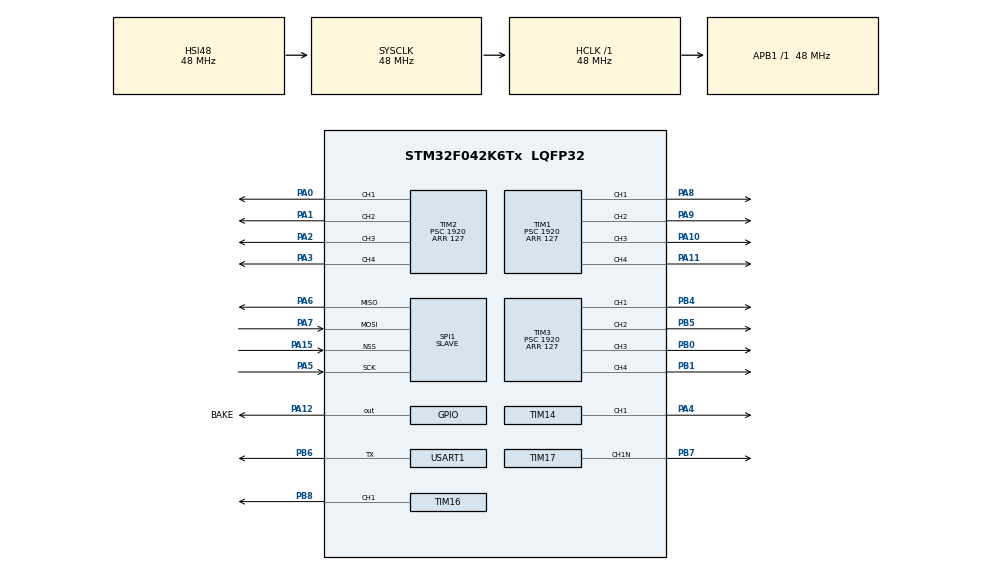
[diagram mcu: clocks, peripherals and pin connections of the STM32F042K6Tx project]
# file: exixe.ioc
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Dma.Request0=SPI1_RX
Dma.SPI1_RX.0.Direction=DMA_PERIPH_TO_MEMORY
Dma.SPI1_RX.0.Instance=DMA1_Channel2
Dma.SPI1_RX.0.MemDataAlignment=DMA_MDATAALIGN_BYTE
Dma.SPI1_RX.0.MemInc=DMA_MINC_ENABLE
Dma.SPI1_RX.0.Mode=DMA_NORMAL
Dma.SPI1_RX.0.PeriphDataAlignment=DMA_PDATAALIGN_BYTE
Dma.SPI1_RX.0.PeriphInc=DMA_PINC_DISABLE
Dma.SPI1_RX.0.Priority=DMA_PRIORITY_HIGH
IWDG.Prescaler=IWDG_PRESCALER_4
Mcu.Family=STM32F0
Mcu.Name=STM32F042K6Tx
Mcu.Package=LQFP32
NVIC.DMA1_Channel2_3_IRQn=true\:0\:0\:false\:false\:true\:true
PA0.Signal=S_TIM2_CH1_ETR
PA1.Signal=S_TIM2_CH2
PA10.Signal=S_TIM1_CH3
PA11.Signal=S_TIM1_CH4
PA12.GPIO_Label=BAKE
PA12.GPIO_PuPd=GPIO_NOPULL
PA12.Signal=GPIO_Output
PA13.Mode=Serial_Wire
PA13.Signal=SYS_SWDIO
PA14.Mode=Serial_Wire
PA14.Signal=SYS_SWCLK
PA15.Mode=NSS_Signal_Hard_Input
PA15.Signal=SPI1_NSS
PA2.Signal=S_TIM2_CH3
PA3.Signal=S_TIM2_CH4
PA4.Signal=S_TIM14_CH1
PA5.Mode=Full_Duplex_Slave
PA5.Signal=SPI1_SCK
PA6.Mode=Full_Duplex_Slave
PA6.Signal=SPI1_MISO
PA7.Mode=Full_Duplex_Slave
PA7.Signal=SPI1_MOSI
PA8.Signal=S_TIM1_CH1
PA9.Signal=S_TIM1_CH2
PB0.Signal=S_TIM3_CH3
PB1.Signal=S_TIM3_CH4
PB4.Signal=S_TIM3_CH1
PB5.Signal=S_TIM3_CH2
PB6.Mode=Half_duplex(single_wire_mode)
PB6.Signal=USART1_TX
PB7.Mode=PWM Generation1 CH1N
PB7.Signal=TIM17_CH1N
PB8.Signal=S_TIM16_CH1
ProjectManager.HeapSize=0x200
ProjectManager.StackSize=0x400
ProjectManager.TargetToolchain=MDK-ARM V5
RCC.AHBFreq_Value=48000000
RCC.APB1Freq_Value=48000000
RCC.APB1TimFreq_Value=48000000
RCC.HCLKFreq_Value=48000000
RCC.I2c1ClockSelection=RCC_I2C1CLKSOURCE_SYSCLK
RCC.SYSCLKFreq_VALUE=48000000
RCC.SYSCLKSource=RCC_SYSCLKSOURCE_HSI48
RCC.Usart1ClockSelection=RCC_USART1CLKSOURCE_SYSCLK
SH.S_TIM14_CH1.0=TIM14_CH1,PWM Generation1 CH1
SH.S_TIM16_CH1.0=TIM16_CH1,PWM Generation1 CH1
SH.S_TIM1_CH1.0=TIM1_CH1,PWM Generation1 CH1
SH.S_TIM1_CH2.0=TIM1_CH2,PWM Generation2 CH2
SH.S_TIM1_CH3.0=TIM1_CH3,PWM Generation3 CH3
SH.S_TIM1_CH4.0=TIM1_CH4,PWM Generation4 CH4
SH.S_TIM2_CH1_ETR.0=TIM2_CH1,PWM Generation1 CH1
SH.S_TIM2_CH2.0=TIM2_CH2,PWM Generation2 CH2
SH.S_TIM2_CH3.0=TIM2_CH3,PWM Generation3 CH3
SH.S_TIM2_CH4.0=TIM2_CH4,PWM Generation4 CH4
SH.S_TIM3_CH1.0=TIM3_CH1,PWM Generation1 CH1
SH.S_TIM3_CH2.0=TIM3_CH2,PWM Generation2 CH2
SH.S_TIM3_CH3.0=TIM3_CH3,PWM Generation3 CH3
SH.S_TIM3_CH4.0=TIM3_CH4,PWM Generation4 CH4
SPI1.DataSize=SPI_DATASIZE_8BIT
SPI1.Direction=SPI_DIRECTION_2LINES
SPI1.Mode=SPI_MODE_SLAVE
SPI1.VirtualNSS=VM_NSSHARD
SPI1.VirtualType=VM_SLAVE
TIM1.Channel-PWM\ Generation1\ CH1=TIM_CHANNEL_1
TIM1.Channel-PWM\ Generation2\ CH2=TIM_CHANNEL_2
TIM1.Channel-PWM\ Generation3\ CH3=TIM_CHANNEL_3
TIM1.Channel-PWM\ Generation4\ CH4=TIM_CHANNEL_4
TIM1.Period=127
TIM1.Prescaler=1920
TIM1.Pulse-PWM\ Generation1\ CH1=0
TIM1.Pulse-PWM\ Generation2\ CH2=0
TIM1.Pulse-PWM\ Generation3\ CH3=0
TIM1.Pulse-PWM\ Generation4\ CH4=0
TIM14.Channel=TIM_CHANNEL_1
TIM14.Period=127
TIM14.Prescaler=1920
TIM14.Pulse=0
TIM16.Channel=TIM_CHANNEL_1
TIM16.Period=127
TIM16.Prescaler=1920
TIM16.Pulse=0
TIM17.Channel=TIM_CHANNEL_1
TIM17.Period=127
TIM17.Prescaler=1920
TIM17.Pulse=0
TIM2.Channel-PWM\ Generation1\ CH1=TIM_CHANNEL_1
TIM2.Channel-PWM\ Generation2\ CH2=TIM_CHANNEL_2
TIM2.Channel-PWM\ Generation3\ CH3=TIM_CHANNEL_3
TIM2.Channel-PWM\ Generation4\ CH4=TIM_CHANNEL_4
TIM2.Period=127
TIM2.Prescaler=1920
TIM2.Pulse-PWM\ Generation1\ CH1=0
TIM2.Pulse-PWM\ Generation2\ CH2=0
TIM2.Pulse-PWM\ Generation3\ CH3=0
TIM2.Pulse-PWM\ Generation4\ CH4=0
TIM3.Channel-PWM\ Generation1\ CH1=TIM_CHANNEL_1
TIM3.Channel-PWM\ Generation2\ CH2=TIM_CHANNEL_2
TIM3.Channel-PWM\ Generation3\ CH3=TIM_CHANNEL_3
TIM3.Channel-PWM\ Generation4\ CH4=TIM_CHANNEL_4
TIM3.Period=127
TIM3.Prescaler=1920
TIM3.Pulse-PWM\ Generation1\ CH1=0
TIM3.Pulse-PWM\ Generation2\ CH2=0
TIM3.Pulse-PWM\ Generation3\ CH3=0
TIM3.Pulse-PWM\ Generation4\ CH4=0
USART1.BaudRate=115200
USART1.Mode=MODE_TX
USART1.VirtualMode-Half_duplex(single_wire_mode)=VM_ASYNC
USART1.WordLength=WORDLENGTH_8B
VP_IWDG_VS_IWDG.Mode=IWDG_Activate
VP_TIM14_VS_ClockSourceINT.Mode=Enable_Timer
VP_TIM16_VS_ClockSourceINT.Mode=Enable_Timer
VP_TIM17_VS_ClockSourceINT.Mode=Enable_Timer
VP_TIM1_VS_ClockSourceINT.Mode=Internal
VP_TIM2_VS_ClockSourceINT.Mode=Internal
VP_TIM3_VS_ClockSourceINT.Mode=Internal
board=exixe

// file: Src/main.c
/**
  ******************************************************************************
  * File Name          : main.c
  * Description        : Main program body
  ******************************************************************************
  ** This notice applies to any and all portions of this file
  * that are not between comment pairs USER CODE BEGIN and
  * USER CODE END. Other portions of this file, whether
  * inserted by the user or by software development tools
  * are owned by their respective copyright owners.
  *
  * COPYRIGHT(c) 2017 STMicroelectronics
  *
  * Redistribution and use in source and binary forms, with or without modification,
  * are permitted provided that the following conditions are met:
  *   1. Redistributions of source code must retain the above copyright notice,
  *      this list of conditions and the following disclaimer.
  *   2. Redistributions in binary form must reproduce the above copyright notice,
  *      this list of conditions and the following disclaimer in the documentation
  *      and/or other materials provided with the distribution.
  *   3. Neither the name of STMicroelectronics nor the names of its contributors
  *      may be used to endorse or promote products derived from this software
  *      without specific prior written permission.
  *
  * THIS SOFTWARE IS PROVIDED BY THE COPYRIGHT HOLDERS AND CONTRIBUTORS "AS IS"
  * AND ANY EXPRESS OR IMPLIED WARRANTIES, INCLUDING, BUT NOT LIMITED TO, THE
  * IMPLIED WARRANTIES OF MERCHANTABILITY AND FITNESS FOR A PARTICULAR PURPOSE ARE
  * DISCLAIMED. IN NO EVENT SHALL THE COPYRIGHT HOLDER OR CONTRIBUTORS BE LIABLE
  * FOR ANY DIRECT, INDIRECT, INCIDENTAL, SPECIAL, EXEMPLARY, OR CONSEQUENTIAL
  * DAMAGES (INCLUDING, BUT NOT LIMITED TO, PROCUREMENT OF SUBSTITUTE GOODS OR
  * SERVICES; LOSS OF USE, DATA, OR PROFITS; OR BUSINESS INTERRUPTION) HOWEVER
  * CAUSED AND ON ANY THEORY OF LIABILITY, WHETHER IN CONTRACT, STRICT LIABILITY,
  * OR TORT (INCLUDING NEGLIGENCE OR OTHERWISE) ARISING IN ANY WAY OUT OF THE USE
  * OF THIS SOFTWARE, EVEN IF ADVISED OF THE POSSIBILITY OF SUCH DAMAGE.
  *
  ******************************************************************************
  */
#include "main.h"
#include "stm32f0xx_hal.h"

/* USER CODE BEGIN Includes */
#include "shared.h"
#include "helpers.h"

/* USER CODE END Includes */

IWDG_HandleTypeDef hiwdg;

SPI_HandleTypeDef hspi1;
DMA_HandleTypeDef hdma_spi1_rx;

TIM_HandleTypeDef htim1;
TIM_HandleTypeDef htim2;
TIM_HandleTypeDef htim3;
TIM_HandleTypeDef htim14;
TIM_HandleTypeDef htim16;
TIM_HandleTypeDef htim17;

UART_HandleTypeDef huart1;

/* USER CODE BEGIN PV */
/* Private variables ---------------------------------------------------------*/

/* USER CODE END PV */

void SystemClock_Config(void);
static void MX_GPIO_Init(void);
static void MX_DMA_Init(void);
static void MX_USART1_UART_Init(void);
static void MX_SPI1_Init(void);
static void MX_TIM14_Init(void);
static void MX_TIM3_Init(void);
static void MX_TIM16_Init(void);
static void MX_TIM1_Init(void);
static void MX_TIM2_Init(void);
static void MX_TIM17_Init(void);
static void MX_IWDG_Init(void);

void HAL_TIM_MspPostInit(TIM_HandleTypeDef *htim);

/* USER CODE BEGIN PFP */
/* Private function prototypes -----------------------------------------------*/
/* USER CODE END PFP */

/* USER CODE BEGIN 0 */
int fputc(int ch, FILE *f)
{
    HAL_UART_Transmit(&huart1, (unsigned char *)&ch, 1, 100);
    return ch;
}
/* USER CODE END 0 */

int main(void)
{

  /* MCU Configuration----------------------------------------------------------*/

  /* Reset of all peripherals, Initializes the Flash interface and the Systick. */
  HAL_Init();

  /* Configure the system clock */
  SystemClock_Config();

  /* Initialize all configured peripherals */
  MX_GPIO_Init();
  MX_DMA_Init();
  MX_USART1_UART_Init();
  MX_SPI1_Init();
  MX_TIM14_Init();
  MX_TIM3_Init();
  MX_TIM16_Init();
  MX_TIM1_Init();
  MX_TIM2_Init();
  MX_TIM17_Init();
  MX_IWDG_Init();

  /* Infinite loop */
  /* USER CODE BEGIN WHILE */
  timer_init();
  HAL_Delay(10);
  while(1)
  {
    HAL_IWDG_Refresh(&hiwdg);
    if(HAL_GPIO_ReadPin(GPIOA, GPIO_PIN_15) == GPIO_PIN_SET)
      HAL_SPI_Receive_DMA(&hspi1, spi_recv_buf, SPI_BUF_SIZE);
  /* USER CODE END WHILE */

  }

}

/** System Clock Configuration
*/
void SystemClock_Config(void)
{

  RCC_OscInitTypeDef RCC_OscInitStruct;
  RCC_ClkInitTypeDef RCC_ClkInitStruct;
  RCC_PeriphCLKInitTypeDef PeriphClkInit;

    /**Initializes the CPU, AHB and APB busses clocks
    */
  RCC_OscInitStruct.OscillatorType = RCC_OSCILLATORTYPE_HSI48|RCC_OSCILLATORTYPE_LSI;
  RCC_OscInitStruct.HSI48State = RCC_HSI48_ON;
  RCC_OscInitStruct.LSIState = RCC_LSI_ON;
  RCC_OscInitStruct.PLL.PLLState = RCC_PLL_NONE;
  if (HAL_RCC_OscConfig(&RCC_OscInitStruct) != HAL_OK)
  {
    _Error_Handler(__FILE__, __LINE__);
  }

    /**Initializes the CPU, AHB and APB busses clocks
    */
  RCC_ClkInitStruct.ClockType = RCC_CLOCKTYPE_HCLK|RCC_CLOCKTYPE_SYSCLK
                              |RCC_CLOCKTYPE_PCLK1;
  RCC_ClkInitStruct.SYSCLKSource = RCC_SYSCLKSOURCE_HSI48;
  RCC_ClkInitStruct.AHBCLKDivider = RCC_SYSCLK_DIV1;
  RCC_ClkInitStruct.APB1CLKDivider = RCC_HCLK_DIV1;

  if (HAL_RCC_ClockConfig(&RCC_ClkInitStruct, FLASH_LATENCY_1) != HAL_OK)
  {
    _Error_Handler(__FILE__, __LINE__);
  }

  PeriphClkInit.PeriphClockSelection = RCC_PERIPHCLK_USART1;
  PeriphClkInit.Usart1ClockSelection = RCC_USART1CLKSOURCE_SYSCLK;
  if (HAL_RCCEx_PeriphCLKConfig(&PeriphClkInit) != HAL_OK)
  {
    _Error_Handler(__FILE__, __LINE__);
  }

    /**Configure the Systick interrupt time
    */
  HAL_SYSTICK_Config(HAL_RCC_GetHCLKFreq()/1000);

    /**Configure the Systick
    */
  HAL_SYSTICK_CLKSourceConfig(SYSTICK_CLKSOURCE_HCLK);

  /* SysTick_IRQn interrupt configuration */
  HAL_NVIC_SetPriority(SysTick_IRQn, 0, 0);
}

/* IWDG init function */
static void MX_IWDG_Init(void)
{

  hiwdg.Instance = IWDG;
  hiwdg.Init.Prescaler = IWDG_PRESCALER_4;
  hiwdg.Init.Window = 4095;
  hiwdg.Init.Reload = 4095;
  if (HAL_IWDG_Init(&hiwdg) != HAL_OK)
  {
    _Error_Handler(__FILE__, __LINE__);
  }

}

/* SPI1 init function */
static void MX_SPI1_Init(void)
{

  hspi1.Instance = SPI1;
  hspi1.Init.Mode = SPI_MODE_SLAVE;
  hspi1.Init.Direction = SPI_DIRECTION_2LINES;
  hspi1.Init.DataSize = SPI_DATASIZE_8BIT;
  hspi1.Init.CLKPolarity = SPI_POLARITY_LOW;
  hspi1.Init.CLKPhase = SPI_PHASE_1EDGE;
  hspi1.Init.NSS = SPI_NSS_HARD_INPUT;
  hspi1.Init.FirstBit = SPI_FIRSTBIT_MSB;
  hspi1.Init.TIMode = SPI_TIMODE_DISABLE;
  hspi1.Init.CRCCalculation = SPI_CRCCALCULATION_DISABLE;
  hspi1.Init.CRCPolynomial = 7;
  hspi1.Init.CRCLength = SPI_CRC_LENGTH_DATASIZE;
  hspi1.Init.NSSPMode = SPI_NSS_PULSE_DISABLE;
  if (HAL_SPI_Init(&hspi1) != HAL_OK)
  {
    _Error_Handler(__FILE__, __LINE__);
  }

}

/* TIM1 init function */
static void MX_TIM1_Init(void)
{

  TIM_ClockConfigTypeDef sClockSourceConfig;
  TIM_MasterConfigTypeDef sMasterConfig;
  TIM_OC_InitTypeDef sConfigOC;
  TIM_BreakDeadTimeConfigTypeDef sBreakDeadTimeConfig;

  htim1.Instance = TIM1;
  htim1.Init.Prescaler = 1920;
  htim1.Init.CounterMode = TIM_COUNTERMODE_UP;
  htim1.Init.Period = 127;
  htim1.Init.ClockDivision = TIM_CLOCKDIVISION_DIV1;
  htim1.Init.RepetitionCounter = 0;
  htim1.Init.AutoReloadPreload = TIM_AUTORELOAD_PRELOAD_DISABLE;
  if (HAL_TIM_Base_Init(&htim1) != HAL_OK)
  {
    _Error_Handler(__FILE__, __LINE__);
  }

  sClockSourceConfig.ClockSource = TIM_CLOCKSOURCE_INTERNAL;
  if (HAL_TIM_ConfigClockSource(&htim1, &sClockSourceConfig) != HAL_OK)
  {
    _Error_Handler(__FILE__, __LINE__);
  }

  if (HAL_TIM_PWM_Init(&htim1) != HAL_OK)
  {
    _Error_Handler(__FILE__, __LINE__);
  }

  sMasterConfig.MasterOutputTrigger = TIM_TRGO_RESET;
  sMasterConfig.MasterSlaveMode = TIM_MASTERSLAVEMODE_DISABLE;
  if (HAL_TIMEx_MasterConfigSynchronization(&htim1, &sMasterConfig) != HAL_OK)
  {
    _Error_Handler(__FILE__, __LINE__);
  }

  sConfigOC.OCMode = TIM_OCMODE_PWM1;
  sConfigOC.Pulse = 0;
  sConfigOC.OCPolarity = TIM_OCPOLARITY_HIGH;
  sConfigOC.OCNPolarity = TIM_OCNPOLARITY_HIGH;
  sConfigOC.OCFastMode = TIM_OCFAST_DISABLE;
  sConfigOC.OCIdleState = TIM_OCIDLESTATE_RESET;
  sConfigOC.OCNIdleState = TIM_OCNIDLESTATE_RESET;
  if (HAL_TIM_PWM_ConfigChannel(&htim1, &sConfigOC, TIM_CHANNEL_1) != HAL_OK)
  {
    _Error_Handler(__FILE__, __LINE__);
  }

  if (HAL_TIM_PWM_ConfigChannel(&htim1, &sConfigOC, TIM_CHANNEL_2) != HAL_OK)
  {
    _Error_Handler(__FILE__, __LINE__);
  }

  if (HAL_TIM_PWM_ConfigChannel(&htim1, &sConfigOC, TIM_CHANNEL_3) != HAL_OK)
  {
    _Error_Handler(__FILE__, __LINE__);
  }

  if (HAL_TIM_PWM_ConfigChannel(&htim1, &sConfigOC, TIM_CHANNEL_4) != HAL_OK)
  {
    _Error_Handler(__FILE__, __LINE__);
  }

  sBreakDeadTimeConfig.OffStateRunMode = TIM_OSSR_DISABLE;
  sBreakDeadTimeConfig.OffStateIDLEMode = TIM_OSSI_DISABLE;
  sBreakDeadTimeConfig.LockLevel = TIM_LOCKLEVEL_OFF;
  sBreakDeadTimeConfig.DeadTime = 0;
  sBreakDeadTimeConfig.BreakState = TIM_BREAK_DISABLE;
  sBreakDeadTimeConfig.BreakPolarity = TIM_BREAKPOLARITY_HIGH;
  sBreakDeadTimeConfig.AutomaticOutput = TIM_AUTOMATICOUTPUT_DISABLE;
  if (HAL_TIMEx_ConfigBreakDeadTime(&htim1, &sBreakDeadTimeConfig) != HAL_OK)
  {
    _Error_Handler(__FILE__, __LINE__);
  }

  HAL_TIM_MspPostInit(&htim1);

}

/* TIM2 init function */
static void MX_TIM2_Init(void)
{

  TIM_ClockConfigTypeDef sClockSourceConfig;
  TIM_MasterConfigTypeDef sMasterConfig;
  TIM_OC_InitTypeDef sConfigOC;

  htim2.Instance = TIM2;
  htim2.Init.Prescaler = 1920;
  htim2.Init.CounterMode = TIM_COUNTERMODE_UP;
  htim2.Init.Period = 127;
  htim2.Init.ClockDivision = TIM_CLOCKDIVISION_DIV1;
  htim2.Init.AutoReloadPreload = TIM_AUTORELOAD_PRELOAD_DISABLE;
  if (HAL_TIM_Base_Init(&htim2) != HAL_OK)
  {
    _Error_Handler(__FILE__, __LINE__);
  }

  sClockSourceConfig.ClockSource = TIM_CLOCKSOURCE_INTERNAL;
  if (HAL_TIM_ConfigClockSource(&htim2, &sClockSourceConfig) != HAL_OK)
  {
    _Error_Handler(__FILE__, __LINE__);
  }

  if (HAL_TIM_PWM_Init(&htim2) != HAL_OK)
  {
    _Error_Handler(__FILE__, __LINE__);
  }

  sMasterConfig.MasterOutputTrigger = TIM_TRGO_RESET;
  sMasterConfig.MasterSlaveMode = TIM_MASTERSLAVEMODE_DISABLE;
  if (HAL_TIMEx_MasterConfigSynchronization(&htim2, &sMasterConfig) != HAL_OK)
  {
    _Error_Handler(__FILE__, __LINE__);
  }

  sConfigOC.OCMode = TIM_OCMODE_PWM1;
  sConfigOC.Pulse = 0;
  sConfigOC.OCPolarity = TIM_OCPOLARITY_HIGH;
  sConfigOC.OCFastMode = TIM_OCFAST_DISABLE;
  if (HAL_TIM_PWM_ConfigChannel(&htim2, &sConfigOC, TIM_CHANNEL_1) != HAL_OK)
  {
    _Error_Handler(__FILE__, __LINE__);
  }

  if (HAL_TIM_PWM_ConfigChannel(&htim2, &sConfigOC, TIM_CHANNEL_2) != HAL_OK)
  {
    _Error_Handler(__FILE__, __LINE__);
  }

  if (HAL_TIM_PWM_ConfigChannel(&htim2, &sConfigOC, TIM_CHANNEL_3) != HAL_OK)
  {
    _Error_Handler(__FILE__, __LINE__);
  }

  if (HAL_TIM_PWM_ConfigChannel(&htim2, &sConfigOC, TIM_CHANNEL_4) != HAL_OK)
  {
    _Error_Handler(__FILE__, __LINE__);
  }

  HAL_TIM_MspPostInit(&htim2);

}

/* TIM3 init function */
static void MX_TIM3_Init(void)
{

  TIM_ClockConfigTypeDef sClockSourceConfig;
  TIM_MasterConfigTypeDef sMasterConfig;
  TIM_OC_InitTypeDef sConfigOC;

  htim3.Instance = TIM3;
  htim3.Init.Prescaler = 1920;
  htim3.Init.CounterMode = TIM_COUNTERMODE_UP;
  htim3.Init.Period = 127;
  htim3.Init.ClockDivision = TIM_CLOCKDIVISION_DIV1;
  htim3.Init.AutoReloadPreload = TIM_AUTORELOAD_PRELOAD_DISABLE;
  if (HAL_TIM_Base_Init(&htim3) != HAL_OK)
  {
    _Error_Handler(__FILE__, __LINE__);
  }

  sClockSourceConfig.ClockSource = TIM_CLOCKSOURCE_INTERNAL;
  if (HAL_TIM_ConfigClockSource(&htim3, &sClockSourceConfig) != HAL_OK)
  {
    _Error_Handler(__FILE__, __LINE__);
  }

  if (HAL_TIM_PWM_Init(&htim3) != HAL_OK)
  {
    _Error_Handler(__FILE__, __LINE__);
  }

  sMasterConfig.MasterOutputTrigger = TIM_TRGO_RESET;
  sMasterConfig.MasterSlaveMode = TIM_MASTERSLAVEMODE_DISABLE;
  if (HAL_TIMEx_MasterConfigSynchronization(&htim3, &sMasterConfig) != HAL_OK)
  {
    _Error_Handler(__FILE__, __LINE__);
  }

  sConfigOC.OCMode = TIM_OCMODE_PWM1;
  sConfigOC.Pulse = 0;
  sConfigOC.OCPolarity = TIM_OCPOLARITY_HIGH;
  sConfigOC.OCFastMode = TIM_OCFAST_DISABLE;
  if (HAL_TIM_PWM_ConfigChannel(&htim3, &sConfigOC, TIM_CHANNEL_1) != HAL_OK)
  {
    _Error_Handler(__FILE__, __LINE__);
  }

  if (HAL_TIM_PWM_ConfigChannel(&htim3, &sConfigOC, TIM_CHANNEL_2) != HAL_OK)
  {
    _Error_Handler(__FILE__, __LINE__);
  }

  if (HAL_TIM_PWM_ConfigChannel(&htim3, &sConfigOC, TIM_CHANNEL_3) != HAL_OK)
  {
    _Error_Handler(__FILE__, __LINE__);
  }

  if (HAL_TIM_PWM_ConfigChannel(&htim3, &sConfigOC, TIM_CHANNEL_4) != HAL_OK)
  {
    _Error_Handler(__FILE__, __LINE__);
  }

  HAL_TIM_MspPostInit(&htim3);

}

/* TIM14 init function */
static void MX_TIM14_Init(void)
{

  TIM_OC_InitTypeDef sConfigOC;

  htim14.Instance = TIM14;
  htim14.Init.Prescaler = 1920;
  htim14.Init.CounterMode = TIM_COUNTERMODE_UP;
  htim14.Init.Period = 127;
  htim14.Init.ClockDivision = TIM_CLOCKDIVISION_DIV1;
  htim14.Init.AutoReloadPreload = TIM_AUTORELOAD_PRELOAD_DISABLE;
  if (HAL_TIM_Base_Init(&htim14) != HAL_OK)
  {
    _Error_Handler(__FILE__, __LINE__);
  }

  if (HAL_TIM_PWM_Init(&htim14) != HAL_OK)
  {
    _Error_Handler(__FILE__, __LINE__);
  }

  sConfigOC.OCMode = TIM_OCMODE_PWM1;
  sConfigOC.Pulse = 0;
  sConfigOC.OCPolarity = TIM_OCPOLARITY_HIGH;
  sConfigOC.OCFastMode = TIM_OCFAST_DISABLE;
  if (HAL_TIM_PWM_ConfigChannel(&htim14, &sConfigOC, TIM_CHANNEL_1) != HAL_OK)
  {
    _Error_Handler(__FILE__, __LINE__);
  }

  HAL_TIM_MspPostInit(&htim14);

}

/* TIM16 init function */
static void MX_TIM16_Init(void)
{

  TIM_OC_InitTypeDef sConfigOC;
  TIM_BreakDeadTimeConfigTypeDef sBreakDeadTimeConfig;

  htim16.Instance = TIM16;
  htim16.Init.Prescaler = 1920;
  htim16.Init.CounterMode = TIM_COUNTERMODE_UP;
  htim16.Init.Period = 127;
  htim16.Init.ClockDivision = TIM_CLOCKDIVISION_DIV1;
  htim16.Init.RepetitionCounter = 0;
  htim16.Init.AutoReloadPreload = TIM_AUTORELOAD_PRELOAD_DISABLE;
  if (HAL_TIM_Base_Init(&htim16) != HAL_OK)
  {
    _Error_Handler(__FILE__, __LINE__);
  }

  if (HAL_TIM_PWM_Init(&htim16) != HAL_OK)
  {
    _Error_Handler(__FILE__, __LINE__);
  }

  sConfigOC.OCMode = TIM_OCMODE_PWM1;
  sConfigOC.Pulse = 0;
  sConfigOC.OCPolarity = TIM_OCPOLARITY_HIGH;
  sConfigOC.OCNPolarity = TIM_OCNPOLARITY_HIGH;
  sConfigOC.OCFastMode = TIM_OCFAST_DISABLE;
  sConfigOC.OCIdleState = TIM_OCIDLESTATE_RESET;
  sConfigOC.OCNIdleState = TIM_OCNIDLESTATE_RESET;
  if (HAL_TIM_PWM_ConfigChannel(&htim16, &sConfigOC, TIM_CHANNEL_1) != HAL_OK)
  {
    _Error_Handler(__FILE__, __LINE__);
  }

  sBreakDeadTimeConfig.OffStateRunMode = TIM_OSSR_DISABLE;
  sBreakDeadTimeConfig.OffStateIDLEMode = TIM_OSSI_DISABLE;
  sBreakDeadTimeConfig.LockLevel = TIM_LOCKLEVEL_OFF;
  sBreakDeadTimeConfig.DeadTime = 0;
  sBreakDeadTimeConfig.BreakState = TIM_BREAK_DISABLE;
  sBreakDeadTimeConfig.BreakPolarity = TIM_BREAKPOLARITY_HIGH;
  sBreakDeadTimeConfig.AutomaticOutput = TIM_AUTOMATICOUTPUT_DISABLE;
  if (HAL_TIMEx_ConfigBreakDeadTime(&htim16, &sBreakDeadTimeConfig) != HAL_OK)
  {
    _Error_Handler(__FILE__, __LINE__);
  }

  HAL_TIM_MspPostInit(&htim16);

}

/* TIM17 init function */
static void MX_TIM17_Init(void)
{

  TIM_OC_InitTypeDef sConfigOC;
  TIM_BreakDeadTimeConfigTypeDef sBreakDeadTimeConfig;

  htim17.Instance = TIM17;
  htim17.Init.Prescaler = 1920;
  htim17.Init.CounterMode = TIM_COUNTERMODE_UP;
  htim17.Init.Period = 127;
  htim17.Init.ClockDivision = TIM_CLOCKDIVISION_DIV1;
  htim17.Init.RepetitionCounter = 0;
  htim17.Init.AutoReloadPreload = TIM_AUTORELOAD_PRELOAD_DISABLE;
  if (HAL_TIM_Base_Init(&htim17) != HAL_OK)
  {
    _Error_Handler(__FILE__, __LINE__);
  }

  if (HAL_TIM_PWM_Init(&htim17) != HAL_OK)
  {
    _Error_Handler(__FILE__, __LINE__);
  }

  sConfigOC.OCMode = TIM_OCMODE_PWM1;
  sConfigOC.Pulse = 0;
  sConfigOC.OCPolarity = TIM_OCPOLARITY_HIGH;
  sConfigOC.OCNPolarity = TIM_OCNPOLARITY_HIGH;
  sConfigOC.OCFastMode = TIM_OCFAST_DISABLE;
  sConfigOC.OCIdleState = TIM_OCIDLESTATE_RESET;
  sConfigOC.OCNIdleState = TIM_OCNIDLESTATE_RESET;
  if (HAL_TIM_PWM_ConfigChannel(&htim17, &sConfigOC, TIM_CHANNEL_1) != HAL_OK)
  {
    _Error_Handler(__FILE__, __LINE__);
  }

  sBreakDeadTimeConfig.OffStateRunMode = TIM_OSSR_DISABLE;
  sBreakDeadTimeConfig.OffStateIDLEMode = TIM_OSSI_DISABLE;
  sBreakDeadTimeConfig.LockLevel = TIM_LOCKLEVEL_OFF;
  sBreakDeadTimeConfig.DeadTime = 0;
  sBreakDeadTimeConfig.BreakState = TIM_BREAK_DISABLE;
  sBreakDeadTimeConfig.BreakPolarity = TIM_BREAKPOLARITY_HIGH;
  sBreakDeadTimeConfig.AutomaticOutput = TIM_AUTOMATICOUTPUT_DISABLE;
  if (HAL_TIMEx_ConfigBreakDeadTime(&htim17, &sBreakDeadTimeConfig) != HAL_OK)
  {
    _Error_Handler(__FILE__, __LINE__);
  }

  HAL_TIM_MspPostInit(&htim17);

}

/* USART1 init function */
static void MX_USART1_UART_Init(void)
{

  huart1.Instance = USART1;
  huart1.Init.BaudRate = 115200;
  huart1.Init.WordLength = UART_WORDLENGTH_8B;
  huart1.Init.StopBits = UART_STOPBITS_1;
  huart1.Init.Parity = UART_PARITY_NONE;
  huart1.Init.Mode = UART_MODE_TX;
  huart1.Init.HwFlowCtl = UART_HWCONTROL_NONE;
  huart1.Init.OverSampling = UART_OVERSAMPLING_16;
  huart1.Init.OneBitSampling = UART_ONE_BIT_SAMPLE_DISABLE;
  huart1.AdvancedInit.AdvFeatureInit = UART_ADVFEATURE_NO_INIT;
  if (HAL_HalfDuplex_Init(&huart1) != HAL_OK)
  {
    _Error_Handler(__FILE__, __LINE__);
  }

}

static void MX_DMA_Init(void)
{
  /* DMA controller clock enable */
  __HAL_RCC_DMA1_CLK_ENABLE();

  /* DMA interrupt init */
  /* DMA1_Channel2_3_IRQn interrupt configuration */
  HAL_NVIC_SetPriority(DMA1_Channel2_3_IRQn, 0, 0);
  HAL_NVIC_EnableIRQ(DMA1_Channel2_3_IRQn);

}

/** Configure pins as
        * Analog
        * Input
        * Output
        * EVENT_OUT
        * EXTI
*/
static void MX_GPIO_Init(void)
{

  GPIO_InitTypeDef GPIO_InitStruct;

  /* GPIO Ports Clock Enable */
  __HAL_RCC_GPIOA_CLK_ENABLE();
  __HAL_RCC_GPIOB_CLK_ENABLE();

  /*Configure GPIO pin Output Level */
  HAL_GPIO_WritePin(BAKE_GPIO_Port, BAKE_Pin, GPIO_PIN_RESET);

  /*Configure GPIO pin : BAKE_Pin */
  GPIO_InitStruct.Pin = BAKE_Pin;
  GPIO_InitStruct.Mode = GPIO_MODE_OUTPUT_PP;
  GPIO_InitStruct.Pull = GPIO_NOPULL;
  GPIO_InitStruct.Speed = GPIO_SPEED_FREQ_LOW;
  HAL_GPIO_Init(BAKE_GPIO_Port, &GPIO_InitStruct);

}

/* USER CODE BEGIN 4 */
void HAL_SPI_RxCpltCallback(SPI_HandleTypeDef *hspi)
{
  if((spi_recv_buf[0] & 0xfe) != SPI_CMD_UPDATE)
    HAL_NVIC_SystemReset();
  set_pwm(spi_recv_buf);
  if(spi_recv_buf[0] & 0x1)
      HAL_GPIO_WritePin(BAKE_GPIO_Port, BAKE_Pin, GPIO_PIN_SET);
  else
      HAL_GPIO_WritePin(BAKE_GPIO_Port, BAKE_Pin, GPIO_PIN_RESET);
  HAL_SPI_Receive_DMA(&hspi1, spi_recv_buf, SPI_BUF_SIZE);
}

/* USER CODE END 4 */

void _Error_Handler(char * file, int line)
{
  while(1)
  {
  }
}

/************************ (C) COPYRIGHT STMicroelectronics *****END OF FILE****/
